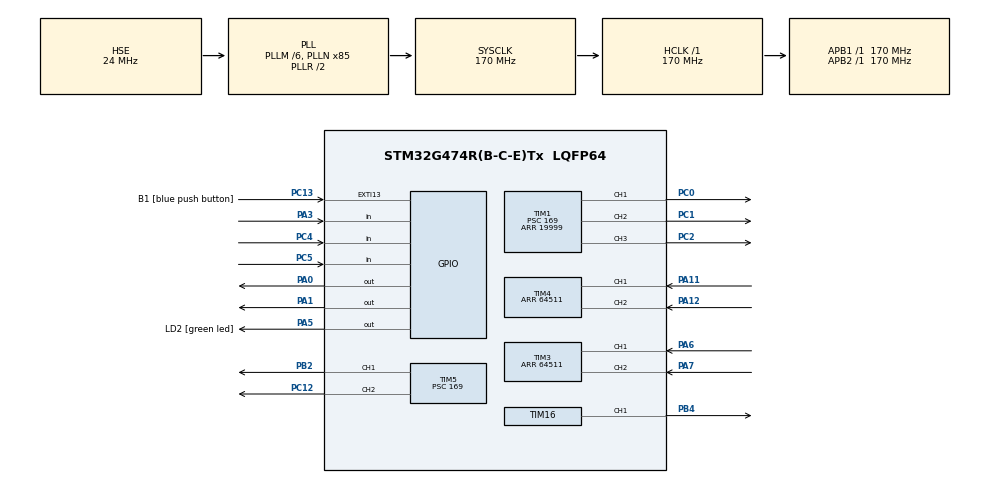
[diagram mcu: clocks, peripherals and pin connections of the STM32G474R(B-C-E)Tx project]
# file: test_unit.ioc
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Mcu.Family=STM32G4
Mcu.Name=STM32G474R(B-C-E)Tx
Mcu.Package=LQFP64
NVIC.EXTI15_10_IRQn=true\:0\:0\:false\:false\:true\:true\:true\:true
NVIC.PriorityGroup=NVIC_PRIORITYGROUP_4
NVIC.TIM2_IRQn=true\:0\:0\:false\:false\:true\:true\:true\:true
PA0.Signal=GPIO_Output
PA1.Signal=GPIO_Output
PA11.Signal=S_TIM4_CH1
PA12.Signal=S_TIM4_CH2
PA13.GPIO_Label=T_SWDIO
PA13.Mode=Serial_Wire
PA13.Signal=SYS_JTMS-SWDIO
PA14.GPIO_Label=T_SWCLK
PA14.Mode=Serial_Wire
PA14.Signal=SYS_JTCK-SWCLK
PA3.Signal=GPIO_Input
PA5.GPIO_Label=LD2 [green led]
PA5.Signal=GPIO_Output
PA6.GPIO_PuPd=GPIO_NOPULL
PA6.Signal=S_TIM3_CH1
PA7.GPIO_PuPd=GPIO_NOPULL
PA7.Signal=S_TIM3_CH2
PB2.Signal=S_TIM5_CH1
PB3.GPIO_Label=T_SWO
PB3.Signal=SYS_JTDO-SWO
PB4.Signal=S_TIM16_CH1
PC0.Signal=S_TIM1_CH1
PC1.Signal=S_TIM1_CH2
PC12.Signal=S_TIM5_CH2
PC13.GPIO_Label=B1 [blue push button]
PC13.Signal=GPXTI13
PC14-OSC32_IN.Mode=LSE-External-Oscillator
PC14-OSC32_IN.Signal=RCC_OSC32_IN
PC15-OSC32_OUT.Mode=LSE-External-Oscillator
PC15-OSC32_OUT.Signal=RCC_OSC32_OUT
PC2.Signal=S_TIM1_CH3
PC4.GPIO_PuPd=GPIO_PULLDOWN
PC4.Signal=GPIO_Input
PC5.GPIO_PuPd=GPIO_PULLDOWN
PC5.Signal=GPIO_Input
PF0-OSC_IN.Mode=HSE-External-Oscillator
PF0-OSC_IN.Signal=RCC_OSC_IN
PF1-OSC_OUT.Mode=HSE-External-Oscillator
PF1-OSC_OUT.Signal=RCC_OSC_OUT
ProjectManager.HeapSize=0x200
ProjectManager.StackSize=0x400
ProjectManager.TargetToolchain=STM32CubeIDE
RCC.ADC12Freq_Value=170000000
RCC.ADC345Freq_Value=170000000
RCC.AHBFreq_Value=170000000
RCC.APB1Freq_Value=170000000
RCC.APB1TimFreq_Value=170000000
RCC.APB2Freq_Value=170000000
RCC.APB2TimFreq_Value=170000000
RCC.CortexFreq_Value=170000000
RCC.EXTERNAL_CLOCK_VALUE=12288000
RCC.HCLKFreq_Value=170000000
RCC.HSE_VALUE=24000000
RCC.HSI48_VALUE=48000000
RCC.HSI_VALUE=16000000
RCC.PLLM=RCC_PLLM_DIV6
RCC.PLLN=85
RCC.PLLSourceVirtual=RCC_PLLSOURCE_HSE
RCC.RTCClockSelection=RCC_RTCCLKSOURCE_LSE
RCC.SYSCLKFreq_VALUE=170000000
RCC.SYSCLKSource=RCC_SYSCLKSOURCE_PLLCLK
RCC.USBFreq_Value=170000000
RCC.VCOOutputFreq_Value=340000000
SH.S_TIM16_CH1.0=TIM16_CH1,PWM Generation1 CH1
SH.S_TIM1_CH1.0=TIM1_CH1,PWM Generation1 CH1
SH.S_TIM1_CH2.0=TIM1_CH2,PWM Generation2 CH2
SH.S_TIM1_CH3.0=TIM1_CH3,PWM Generation3 CH3
SH.S_TIM3_CH1.0=TIM3_CH1,Encoder_Interface
SH.S_TIM3_CH2.0=TIM3_CH2,Encoder_Interface
SH.S_TIM4_CH1.0=TIM4_CH1,Encoder_Interface
SH.S_TIM4_CH2.0=TIM4_CH2,Encoder_Interface
SH.S_TIM5_CH1.0=TIM5_CH1,PWM Generation1 CH1
SH.S_TIM5_CH2.0=TIM5_CH2,PWM Generation2 CH2
TIM1.Channel-PWM\ Generation1\ CH1=TIM_CHANNEL_1
TIM1.Channel-PWM\ Generation2\ CH2=TIM_CHANNEL_2
TIM1.Channel-PWM\ Generation3\ CH3=TIM_CHANNEL_3
TIM1.PeriodNoDither=19999
TIM1.Prescaler=169
TIM16.Channel=TIM_CHANNEL_1
TIM16.PeriodNoDither=19999
TIM16.Prescaler=169
TIM2.PeriodNoDither=999
TIM2.Prescaler=169
TIM3.EncoderMode=TIM_ENCODERMODE_TI12
TIM3.IC1Filter=2
TIM3.IC2Filter=2
TIM3.PeriodNoDither=64511
TIM4.EncoderMode=TIM_ENCODERMODE_TI12
TIM4.PeriodNoDither=64511
TIM5.Channel-PWM\ Generation1\ CH1=TIM_CHANNEL_1
TIM5.Channel-PWM\ Generation2\ CH2=TIM_CHANNEL_2
TIM5.PeriodNoDither=19999
TIM5.Prescaler=169
VP_SYS_VS_DBSignals.Mode=DisableDeadBatterySignals
VP_TIM16_VS_ClockSourceINT.Mode=Enable_Timer
VP_TIM1_VS_ClockSourceINT.Mode=Internal
VP_TIM2_VS_ClockSourceINT.Mode=Internal
VP_TIM5_VS_ClockSourceINT.Mode=Internal
board=NUCLEO-G474RE

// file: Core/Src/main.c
/* USER CODE BEGIN Header */
/**
  ******************************************************************************
  * @file           : main.c
  * @brief          : Main program body
  ******************************************************************************
  * @attention
  *
  * Copyright (c) 2024 STMicroelectronics.
  * All rights reserved.
  *
  * This software is licensed under terms that can be found in the LICENSE file
  * in the root directory of this software component.
  * If no LICENSE file comes with this software, it is provided AS-IS.
  *
  ******************************************************************************
  */
/* USER CODE END Header */
#include "main.h"

/* USER CODE BEGIN Includes */
#include "pid.h"
/* USER CODE END Includes */

TIM_HandleTypeDef htim1;
TIM_HandleTypeDef htim2;
TIM_HandleTypeDef htim3;
TIM_HandleTypeDef htim4;
TIM_HandleTypeDef htim5;
TIM_HandleTypeDef htim16;

/* USER CODE BEGIN PV */
uint16_t pwm_1_door = 15000;
uint16_t pwm_1_brush = 10000;
uint16_t pwm_16_rake = 1000;
uint16_t pwm_5_wheel_1 = 15000;
uint16_t pwm_5_wheel_2 = 15000;

uint16_t state_door = 0 ;
uint16_t state_brush = 0 ;
uint16_t state_rake = 0 ;
uint16_t state_wheel_1 = 0 ;
uint16_t state_wheel_2 = 0 ;
uint16_t state_wheel_3 = 0 ;
uint16_t state_wheel_4 = 0 ;

uint16_t order = 0;

uint32_t QEIReadRaw_1;
uint32_t QEIReadRaw_2;
uint32_t QEIReadRaw_3;
uint32_t QEIReadRaw_4;

uint16_t x,y ;

/* USER CODE END PV */

void SystemClock_Config(void);
static void MX_GPIO_Init(void);
static void MX_TIM1_Init(void);
static void MX_TIM3_Init(void);
static void MX_TIM4_Init(void);
static void MX_TIM5_Init(void);
static void MX_TIM2_Init(void);
static void MX_TIM16_Init(void);

int main(void)
{

  /* MCU Configuration--------------------------------------------------------*/

  /* Reset of all peripherals, Initializes the Flash interface and the Systick. */
  HAL_Init();

  /* Configure the system clock */
  SystemClock_Config();

  /* Initialize all configured peripherals */
  MX_GPIO_Init();
  MX_TIM1_Init();
  MX_TIM3_Init();
  MX_TIM4_Init();
  MX_TIM5_Init();
  MX_TIM2_Init();
  MX_TIM16_Init();
  /* USER CODE BEGIN 2 */
  HAL_TIM_Base_Start(&htim1);
  HAL_TIM_PWM_Start(&htim1, TIM_CHANNEL_1);
  HAL_TIM_PWM_Start(&htim1, TIM_CHANNEL_2);
  HAL_TIM_PWM_Start(&htim1, TIM_CHANNEL_3);
//  HAL_TIM_Base_Start(&htim2);
//  HAL_TIM_PWM_Start(&htim2, TIM_CHANNEL_1);
  HAL_TIM_Encoder_Start(&htim3,TIM_CHANNEL_ALL);
  HAL_TIM_Encoder_Start(&htim4,TIM_CHANNEL_ALL);
//  HAL_TIM_Base_Start(&htim5);
  HAL_TIM_PWM_Start(&htim5, TIM_CHANNEL_1);
  HAL_TIM_PWM_Start(&htim5, TIM_CHANNEL_2);

  HAL_TIM_PWM_Start(&htim16, TIM_CHANNEL_1);
  /* USER CODE END 2 */

  /* Infinite loop */
  while (1)
  {

    /* USER CODE BEGIN 3 */
//	  HAL_GPIO_WritePin(GPIOA, GPIO_PIN_0, 0);
//	  HAL_GPIO_WritePin(GPIOA, GPIO_PIN_1, 1);

	  // drive motor ล้อตัวที่ 1
	  if (state_wheel_1 == 1)
	  {
		  __HAL_TIM_SET_COMPARE(&htim5, TIM_CHANNEL_1, pwm_5_wheel_1);
		  HAL_GPIO_WritePin(GPIOA, GPIO_PIN_0, 1);
		  QEIReadRaw_1 = __HAL_TIM_GET_COUNTER(&htim3);

	  }

	  // drive motor ล้อตัวที่ 1
	  else if (state_wheel_1 == 2)
	  {
		  __HAL_TIM_SET_COMPARE(&htim5, TIM_CHANNEL_1, pwm_5_wheel_1);
		  HAL_GPIO_WritePin(GPIOA, GPIO_PIN_0, 0);
		  QEIReadRaw_2 = __HAL_TIM_GET_COUNTER(&htim3);

	  }
	  else if (state_wheel_1 == 0)
	  	  {
	  		  __HAL_TIM_SET_COMPARE(&htim5, TIM_CHANNEL_1,0);
	  	  }

	  // drive motor ล้อตัวที่ 1
	  if (state_wheel_2 == 1)
	  {
		  __HAL_TIM_SET_COMPARE(&htim5, TIM_CHANNEL_2, pwm_5_wheel_2);
		  HAL_GPIO_WritePin(GPIOA, GPIO_PIN_1, 1);
		  QEIReadRaw_3 = __HAL_TIM_GET_COUNTER(&htim4);

	  }
	  // drive motor ล้อตัวที่ 1
	  else if (state_wheel_2 == 2)
	  {
		  __HAL_TIM_SET_COMPARE(&htim5, TIM_CHANNEL_2, pwm_5_wheel_2);
		  HAL_GPIO_WritePin(GPIOA, GPIO_PIN_1, 0);
		  QEIReadRaw_4 = __HAL_TIM_GET_COUNTER(&htim4);

	  }
	  else if (state_wheel_2 == 0)
	  {
	  		  __HAL_TIM_SET_COMPARE(&htim5, TIM_CHANNEL_2, 0);

	  }

 	  if (order == 1) // forward
	  {
 		  state_wheel_1 = 2;
 		  state_wheel_2 = 1;
	  }

 	  else if (order == 2) // back
	  	  {
	  		  state_wheel_1 = 1;
	  		  state_wheel_2 = 2;

	  	  }
 	  else if (order == 0)
 	  {
 		  state_wheel_1 = 0;
 		  		  state_wheel_2 = 0;
 	  }

//	  -----------------------------------------------------------------------------------------------------------

	  x = HAL_GPIO_ReadPin(GPIOC, GPIO_PIN_5);
	  y = HAL_GPIO_ReadPin(GPIOC, GPIO_PIN_4);

	  // State เปิด-บิดบานพับบานนึง
	  if (state_door == 0 )
	  {
		  __HAL_TIM_SET_COMPARE(&htim1, TIM_CHANNEL_1, 0);
		  __HAL_TIM_SET_COMPARE(&htim1, TIM_CHANNEL_2, 0);

	  }

	  // State เปิด-บิดบานพับบานนึง
	  else if (state_door == 1)
	  {
//		  HAL_GPIO_WritePin(GPIOA, GPIO_PIN_0, 0);
		  __HAL_TIM_SET_COMPARE(&htim1, TIM_CHANNEL_1, pwm_1_door);
		  __HAL_TIM_SET_COMPARE(&htim1, TIM_CHANNEL_2, 0);
//		  HAL_GPIO_WritePin(GPIOA, GPIO_PIN_0, 1);
		  if (HAL_GPIO_ReadPin(GPIOC, GPIO_PIN_5)== GPIO_PIN_SET  )
	  	  {
	  	      __HAL_TIM_SET_COMPARE(&htim1, TIM_CHANNEL_1, 0); // หยุด PWM
	  	      __HAL_TIM_SET_COMPARE(&htim1, TIM_CHANNEL_2, 0);
//	  	      HAL_GPIO_WritePin(GPIOC, GPIO_PIN_4, 0);
//	  	      HAL_GPIO_WritePin(GPIOC, GPIO_PIN_5, 0);
	  	    state_door = 0;
	  	  }
	  }

	  // State เปิด-บิดบานพับบานนึง
	  else if (state_door == 2)
	  {
		  __HAL_TIM_SET_COMPARE(&htim1, TIM_CHANNEL_1, 0);
		  __HAL_TIM_SET_COMPARE(&htim1, TIM_CHANNEL_2, pwm_1_door);
//		  		  HAL_GPIO_WritePin(GPIOA, GPIO_PIN_0, 0);
		  if (HAL_GPIO_ReadPin(GPIOC, GPIO_PIN_4)== GPIO_PIN_SET  )
		  {

	  	      __HAL_TIM_SET_COMPARE(&htim1, TIM_CHANNEL_1, 0); // หยุด PWM
	  	      __HAL_TIM_SET_COMPARE(&htim1, TIM_CHANNEL_2, 0);
	  	      state_door = 0;
		  }
	  }

	  // สั่ง�?ปรงให้หยุดทำงาน
//	  if (state_brush == 0)
//	  {
//		  __HAL_TIM_SET_COMPARE(&htim16, TIM_CHANNEL_1, 0);
//	  }
//
//	  // สั่ง�?ปรงให้ทำงาน
//	  else if (state_brush == 1)
//	  {
//		  __HAL_TIM_SET_COMPARE(&htim1, TIM_CHANNEL_3, pwm_1_brush);
//
//	  }

	  // สั่งคราดให้หยุดทำงาน
	  // PB4 Pwm
	  if (state_rake == 0)
	  {
		  __HAL_TIM_SET_COMPARE(&htim16, TIM_CHANNEL_1, 0);
	  }

	  // สั่งคราดให้ทำงาน
	  else if (state_rake == 1)
	  {
		  __HAL_TIM_SET_COMPARE(&htim16, TIM_CHANNEL_1, pwm_16_rake);
	  }

	  // สั่งคราดให้ทำงาน
	  else if (state_rake == 2)
	  {
		  __HAL_TIM_SET_COMPARE(&htim16, TIM_CHANNEL_1, pwm_16_rake);
	  }

	  // State  motor หมุน
//	  else if (HAL_GPIO_ReadPin(GPIOC, GPIO_PIN_5)== GPIO_PIN_RESET && HAL_GPIO_ReadPin(GPIOC, GPIO_PIN_4)== GPIO_PIN_SET)
//	  	  {
//		  	  __HAL_TIM_SET_COMPARE(&htim1, TIM_CHANNEL_1, pwm_1_motor_1);
//		  	  HAL_GPIO_WritePin(GPIOA, GPIO_PIN_0, 0);
////		  	  state = 2;
//	  	  }

  }
  /* USER CODE END 3 */
}

void SystemClock_Config(void)
{
  RCC_OscInitTypeDef RCC_OscInitStruct = {0};
  RCC_ClkInitTypeDef RCC_ClkInitStruct = {0};

  /** Configure the main internal regulator output voltage
  */
  HAL_PWREx_ControlVoltageScaling(PWR_REGULATOR_VOLTAGE_SCALE1_BOOST);

  /** Initializes the RCC Oscillators according to the specified parameters
  * in the RCC_OscInitTypeDef structure.
  */
  RCC_OscInitStruct.OscillatorType = RCC_OSCILLATORTYPE_HSE;
  RCC_OscInitStruct.HSEState = RCC_HSE_ON;
  RCC_OscInitStruct.PLL.PLLState = RCC_PLL_ON;
  RCC_OscInitStruct.PLL.PLLSource = RCC_PLLSOURCE_HSE;
  RCC_OscInitStruct.PLL.PLLM = RCC_PLLM_DIV6;
  RCC_OscInitStruct.PLL.PLLN = 85;
  RCC_OscInitStruct.PLL.PLLP = RCC_PLLP_DIV2;
  RCC_OscInitStruct.PLL.PLLQ = RCC_PLLQ_DIV2;
  RCC_OscInitStruct.PLL.PLLR = RCC_PLLR_DIV2;
  if (HAL_RCC_OscConfig(&RCC_OscInitStruct) != HAL_OK)
  {
    Error_Handler();
  }

  /** Initializes the CPU, AHB and APB buses clocks
  */
  RCC_ClkInitStruct.ClockType = RCC_CLOCKTYPE_HCLK|RCC_CLOCKTYPE_SYSCLK
                              |RCC_CLOCKTYPE_PCLK1|RCC_CLOCKTYPE_PCLK2;
  RCC_ClkInitStruct.SYSCLKSource = RCC_SYSCLKSOURCE_PLLCLK;
  RCC_ClkInitStruct.AHBCLKDivider = RCC_SYSCLK_DIV1;
  RCC_ClkInitStruct.APB1CLKDivider = RCC_HCLK_DIV1;
  RCC_ClkInitStruct.APB2CLKDivider = RCC_HCLK_DIV1;

  if (HAL_RCC_ClockConfig(&RCC_ClkInitStruct, FLASH_LATENCY_4) != HAL_OK)
  {
    Error_Handler();
  }
}

static void MX_TIM1_Init(void)
{

  TIM_ClockConfigTypeDef sClockSourceConfig = {0};
  TIM_MasterConfigTypeDef sMasterConfig = {0};
  TIM_OC_InitTypeDef sConfigOC = {0};
  TIM_BreakDeadTimeConfigTypeDef sBreakDeadTimeConfig = {0};

  htim1.Instance = TIM1;
  htim1.Init.Prescaler = 169;
  htim1.Init.CounterMode = TIM_COUNTERMODE_UP;
  htim1.Init.Period = 19999;
  htim1.Init.ClockDivision = TIM_CLOCKDIVISION_DIV1;
  htim1.Init.RepetitionCounter = 0;
  htim1.Init.AutoReloadPreload = TIM_AUTORELOAD_PRELOAD_DISABLE;
  if (HAL_TIM_Base_Init(&htim1) != HAL_OK)
  {
    Error_Handler();
  }
  sClockSourceConfig.ClockSource = TIM_CLOCKSOURCE_INTERNAL;
  if (HAL_TIM_ConfigClockSource(&htim1, &sClockSourceConfig) != HAL_OK)
  {
    Error_Handler();
  }
  if (HAL_TIM_PWM_Init(&htim1) != HAL_OK)
  {
    Error_Handler();
  }
  sMasterConfig.MasterOutputTrigger = TIM_TRGO_RESET;
  sMasterConfig.MasterOutputTrigger2 = TIM_TRGO2_RESET;
  sMasterConfig.MasterSlaveMode = TIM_MASTERSLAVEMODE_DISABLE;
  if (HAL_TIMEx_MasterConfigSynchronization(&htim1, &sMasterConfig) != HAL_OK)
  {
    Error_Handler();
  }
  sConfigOC.OCMode = TIM_OCMODE_PWM1;
  sConfigOC.Pulse = 0;
  sConfigOC.OCPolarity = TIM_OCPOLARITY_HIGH;
  sConfigOC.OCNPolarity = TIM_OCNPOLARITY_HIGH;
  sConfigOC.OCFastMode = TIM_OCFAST_DISABLE;
  sConfigOC.OCIdleState = TIM_OCIDLESTATE_RESET;
  sConfigOC.OCNIdleState = TIM_OCNIDLESTATE_RESET;
  if (HAL_TIM_PWM_ConfigChannel(&htim1, &sConfigOC, TIM_CHANNEL_1) != HAL_OK)
  {
    Error_Handler();
  }
  if (HAL_TIM_PWM_ConfigChannel(&htim1, &sConfigOC, TIM_CHANNEL_2) != HAL_OK)
  {
    Error_Handler();
  }
  if (HAL_TIM_PWM_ConfigChannel(&htim1, &sConfigOC, TIM_CHANNEL_3) != HAL_OK)
  {
    Error_Handler();
  }
  sBreakDeadTimeConfig.OffStateRunMode = TIM_OSSR_DISABLE;
  sBreakDeadTimeConfig.OffStateIDLEMode = TIM_OSSI_DISABLE;
  sBreakDeadTimeConfig.LockLevel = TIM_LOCKLEVEL_OFF;
  sBreakDeadTimeConfig.DeadTime = 0;
  sBreakDeadTimeConfig.BreakState = TIM_BREAK_DISABLE;
  sBreakDeadTimeConfig.BreakPolarity = TIM_BREAKPOLARITY_HIGH;
  sBreakDeadTimeConfig.BreakFilter = 0;
  sBreakDeadTimeConfig.BreakAFMode = TIM_BREAK_AFMODE_INPUT;
  sBreakDeadTimeConfig.Break2State = TIM_BREAK2_DISABLE;
  sBreakDeadTimeConfig.Break2Polarity = TIM_BREAK2POLARITY_HIGH;
  sBreakDeadTimeConfig.Break2Filter = 0;
  sBreakDeadTimeConfig.Break2AFMode = TIM_BREAK_AFMODE_INPUT;
  sBreakDeadTimeConfig.AutomaticOutput = TIM_AUTOMATICOUTPUT_DISABLE;
  if (HAL_TIMEx_ConfigBreakDeadTime(&htim1, &sBreakDeadTimeConfig) != HAL_OK)
  {
    Error_Handler();
  }
  HAL_TIM_MspPostInit(&htim1);

}

static void MX_TIM2_Init(void)
{

  TIM_ClockConfigTypeDef sClockSourceConfig = {0};
  TIM_MasterConfigTypeDef sMasterConfig = {0};

  htim2.Instance = TIM2;
  htim2.Init.Prescaler = 169;
  htim2.Init.CounterMode = TIM_COUNTERMODE_UP;
  htim2.Init.Period = 999;
  htim2.Init.ClockDivision = TIM_CLOCKDIVISION_DIV1;
  htim2.Init.AutoReloadPreload = TIM_AUTORELOAD_PRELOAD_DISABLE;
  if (HAL_TIM_Base_Init(&htim2) != HAL_OK)
  {
    Error_Handler();
  }
  sClockSourceConfig.ClockSource = TIM_CLOCKSOURCE_INTERNAL;
  if (HAL_TIM_ConfigClockSource(&htim2, &sClockSourceConfig) != HAL_OK)
  {
    Error_Handler();
  }
  sMasterConfig.MasterOutputTrigger = TIM_TRGO_RESET;
  sMasterConfig.MasterSlaveMode = TIM_MASTERSLAVEMODE_DISABLE;
  if (HAL_TIMEx_MasterConfigSynchronization(&htim2, &sMasterConfig) != HAL_OK)
  {
    Error_Handler();
  }

}

static void MX_TIM3_Init(void)
{

  TIM_Encoder_InitTypeDef sConfig = {0};
  TIM_MasterConfigTypeDef sMasterConfig = {0};

  htim3.Instance = TIM3;
  htim3.Init.Prescaler = 0;
  htim3.Init.CounterMode = TIM_COUNTERMODE_UP;
  htim3.Init.Period = 64511;
  htim3.Init.ClockDivision = TIM_CLOCKDIVISION_DIV1;
  htim3.Init.AutoReloadPreload = TIM_AUTORELOAD_PRELOAD_DISABLE;
  sConfig.EncoderMode = TIM_ENCODERMODE_TI12;
  sConfig.IC1Polarity = TIM_ICPOLARITY_RISING;
  sConfig.IC1Selection = TIM_ICSELECTION_DIRECTTI;
  sConfig.IC1Prescaler = TIM_ICPSC_DIV1;
  sConfig.IC1Filter = 2;
  sConfig.IC2Polarity = TIM_ICPOLARITY_RISING;
  sConfig.IC2Selection = TIM_ICSELECTION_DIRECTTI;
  sConfig.IC2Prescaler = TIM_ICPSC_DIV1;
  sConfig.IC2Filter = 2;
  if (HAL_TIM_Encoder_Init(&htim3, &sConfig) != HAL_OK)
  {
    Error_Handler();
  }
  sMasterConfig.MasterOutputTrigger = TIM_TRGO_RESET;
  sMasterConfig.MasterSlaveMode = TIM_MASTERSLAVEMODE_DISABLE;
  if (HAL_TIMEx_MasterConfigSynchronization(&htim3, &sMasterConfig) != HAL_OK)
  {
    Error_Handler();
  }

}

static void MX_TIM4_Init(void)
{

  TIM_Encoder_InitTypeDef sConfig = {0};
  TIM_MasterConfigTypeDef sMasterConfig = {0};

  htim4.Instance = TIM4;
  htim4.Init.Prescaler = 0;
  htim4.Init.CounterMode = TIM_COUNTERMODE_UP;
  htim4.Init.Period = 64511;
  htim4.Init.ClockDivision = TIM_CLOCKDIVISION_DIV1;
  htim4.Init.AutoReloadPreload = TIM_AUTORELOAD_PRELOAD_DISABLE;
  sConfig.EncoderMode = TIM_ENCODERMODE_TI12;
  sConfig.IC1Polarity = TIM_ICPOLARITY_RISING;
  sConfig.IC1Selection = TIM_ICSELECTION_DIRECTTI;
  sConfig.IC1Prescaler = TIM_ICPSC_DIV1;
  sConfig.IC1Filter = 0;
  sConfig.IC2Polarity = TIM_ICPOLARITY_RISING;
  sConfig.IC2Selection = TIM_ICSELECTION_DIRECTTI;
  sConfig.IC2Prescaler = TIM_ICPSC_DIV1;
  sConfig.IC2Filter = 0;
  if (HAL_TIM_Encoder_Init(&htim4, &sConfig) != HAL_OK)
  {
    Error_Handler();
  }
  sMasterConfig.MasterOutputTrigger = TIM_TRGO_RESET;
  sMasterConfig.MasterSlaveMode = TIM_MASTERSLAVEMODE_DISABLE;
  if (HAL_TIMEx_MasterConfigSynchronization(&htim4, &sMasterConfig) != HAL_OK)
  {
    Error_Handler();
  }

}

static void MX_TIM5_Init(void)
{

  TIM_ClockConfigTypeDef sClockSourceConfig = {0};
  TIM_MasterConfigTypeDef sMasterConfig = {0};
  TIM_OC_InitTypeDef sConfigOC = {0};

  htim5.Instance = TIM5;
  htim5.Init.Prescaler = 169;
  htim5.Init.CounterMode = TIM_COUNTERMODE_UP;
  htim5.Init.Period = 19999;
  htim5.Init.ClockDivision = TIM_CLOCKDIVISION_DIV1;
  htim5.Init.AutoReloadPreload = TIM_AUTORELOAD_PRELOAD_DISABLE;
  if (HAL_TIM_Base_Init(&htim5) != HAL_OK)
  {
    Error_Handler();
  }
  sClockSourceConfig.ClockSource = TIM_CLOCKSOURCE_INTERNAL;
  if (HAL_TIM_ConfigClockSource(&htim5, &sClockSourceConfig) != HAL_OK)
  {
    Error_Handler();
  }
  if (HAL_TIM_PWM_Init(&htim5) != HAL_OK)
  {
    Error_Handler();
  }
  sMasterConfig.MasterOutputTrigger = TIM_TRGO_RESET;
  sMasterConfig.MasterSlaveMode = TIM_MASTERSLAVEMODE_DISABLE;
  if (HAL_TIMEx_MasterConfigSynchronization(&htim5, &sMasterConfig) != HAL_OK)
  {
    Error_Handler();
  }
  sConfigOC.OCMode = TIM_OCMODE_PWM1;
  sConfigOC.Pulse = 0;
  sConfigOC.OCPolarity = TIM_OCPOLARITY_HIGH;
  sConfigOC.OCFastMode = TIM_OCFAST_DISABLE;
  if (HAL_TIM_PWM_ConfigChannel(&htim5, &sConfigOC, TIM_CHANNEL_1) != HAL_OK)
  {
    Error_Handler();
  }
  if (HAL_TIM_PWM_ConfigChannel(&htim5, &sConfigOC, TIM_CHANNEL_2) != HAL_OK)
  {
    Error_Handler();
  }
  HAL_TIM_MspPostInit(&htim5);

}

static void MX_TIM16_Init(void)
{

  TIM_OC_InitTypeDef sConfigOC = {0};
  TIM_BreakDeadTimeConfigTypeDef sBreakDeadTimeConfig = {0};

  htim16.Instance = TIM16;
  htim16.Init.Prescaler = 169;
  htim16.Init.CounterMode = TIM_COUNTERMODE_UP;
  htim16.Init.Period = 19999;
  htim16.Init.ClockDivision = TIM_CLOCKDIVISION_DIV1;
  htim16.Init.RepetitionCounter = 0;
  htim16.Init.AutoReloadPreload = TIM_AUTORELOAD_PRELOAD_DISABLE;
  if (HAL_TIM_Base_Init(&htim16) != HAL_OK)
  {
    Error_Handler();
  }
  if (HAL_TIM_PWM_Init(&htim16) != HAL_OK)
  {
    Error_Handler();
  }
  sConfigOC.OCMode = TIM_OCMODE_PWM1;
  sConfigOC.Pulse = 0;
  sConfigOC.OCPolarity = TIM_OCPOLARITY_HIGH;
  sConfigOC.OCNPolarity = TIM_OCNPOLARITY_HIGH;
  sConfigOC.OCFastMode = TIM_OCFAST_DISABLE;
  sConfigOC.OCIdleState = TIM_OCIDLESTATE_RESET;
  sConfigOC.OCNIdleState = TIM_OCNIDLESTATE_RESET;
  if (HAL_TIM_PWM_ConfigChannel(&htim16, &sConfigOC, TIM_CHANNEL_1) != HAL_OK)
  {
    Error_Handler();
  }
  sBreakDeadTimeConfig.OffStateRunMode = TIM_OSSR_DISABLE;
  sBreakDeadTimeConfig.OffStateIDLEMode = TIM_OSSI_DISABLE;
  sBreakDeadTimeConfig.LockLevel = TIM_LOCKLEVEL_OFF;
  sBreakDeadTimeConfig.DeadTime = 0;
  sBreakDeadTimeConfig.BreakState = TIM_BREAK_DISABLE;
  sBreakDeadTimeConfig.BreakPolarity = TIM_BREAKPOLARITY_HIGH;
  sBreakDeadTimeConfig.BreakFilter = 0;
  sBreakDeadTimeConfig.AutomaticOutput = TIM_AUTOMATICOUTPUT_DISABLE;
  if (HAL_TIMEx_ConfigBreakDeadTime(&htim16, &sBreakDeadTimeConfig) != HAL_OK)
  {
    Error_Handler();
  }
  HAL_TIM_MspPostInit(&htim16);

}

static void MX_GPIO_Init(void)
{
  GPIO_InitTypeDef GPIO_InitStruct = {0};

  /* GPIO Ports Clock Enable */
  __HAL_RCC_GPIOC_CLK_ENABLE();
  __HAL_RCC_GPIOF_CLK_ENABLE();
  __HAL_RCC_GPIOA_CLK_ENABLE();
  __HAL_RCC_GPIOB_CLK_ENABLE();

  /*Configure GPIO pin Output Level */
  HAL_GPIO_WritePin(GPIOA, GPIO_PIN_0|GPIO_PIN_1|LD2_Pin, GPIO_PIN_RESET);

  /*Configure GPIO pin : B1_Pin */
  GPIO_InitStruct.Pin = B1_Pin;
  GPIO_InitStruct.Mode = GPIO_MODE_IT_RISING;
  GPIO_InitStruct.Pull = GPIO_NOPULL;
  HAL_GPIO_Init(B1_GPIO_Port, &GPIO_InitStruct);

  /*Configure GPIO pins : PA0 PA1 LD2_Pin */
  GPIO_InitStruct.Pin = GPIO_PIN_0|GPIO_PIN_1|LD2_Pin;
  GPIO_InitStruct.Mode = GPIO_MODE_OUTPUT_PP;
  GPIO_InitStruct.Pull = GPIO_NOPULL;
  GPIO_InitStruct.Speed = GPIO_SPEED_FREQ_LOW;
  HAL_GPIO_Init(GPIOA, &GPIO_InitStruct);

  /*Configure GPIO pin : PA3 */
  GPIO_InitStruct.Pin = GPIO_PIN_3;
  GPIO_InitStruct.Mode = GPIO_MODE_INPUT;
  GPIO_InitStruct.Pull = GPIO_NOPULL;
  HAL_GPIO_Init(GPIOA, &GPIO_InitStruct);

  /*Configure GPIO pins : PC4 PC5 */
  GPIO_InitStruct.Pin = GPIO_PIN_4|GPIO_PIN_5;
  GPIO_InitStruct.Mode = GPIO_MODE_INPUT;
  GPIO_InitStruct.Pull = GPIO_PULLDOWN;
  HAL_GPIO_Init(GPIOC, &GPIO_InitStruct);

  /* EXTI interrupt init*/
  HAL_NVIC_SetPriority(EXTI15_10_IRQn, 0, 0);
  HAL_NVIC_EnableIRQ(EXTI15_10_IRQn);

}

void Error_Handler(void)
{
  __disable_irq();
  while (1)
  {
  }
}
